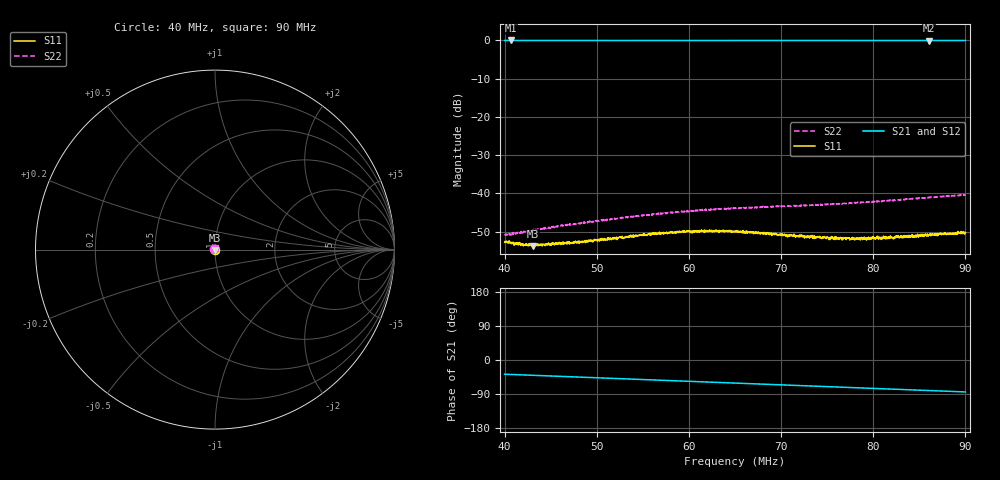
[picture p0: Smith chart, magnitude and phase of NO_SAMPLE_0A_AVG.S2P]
!Agilent Technologies,E5061B,MY49102235,A.02.00
!Date: Mon Jul 03 10:47:28 2023
!Data & Calibration Information:
!Freq	S11:SOLT2(ON)	S21:SOLT2(ON)	S12:SOLT2(ON)	S22:SOLT2(ON)
# Hz S RI R 50
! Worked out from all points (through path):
!   1600 points, 40 MHz to 90 MHz, reference 50 ohm
!   highest |S21| = 0.00 dB at 40.69 MHz (marker M1); lowest = 0.0 dB at 86.09 MHz (marker M2)
!   group delay of S21, straight-line fit = 2.6 ns
!   lowest |S11| = -53.8 dB at 43.03 MHz (marker M3), VSWR 1.00, Z = 49.9 - j0.195 ohm
!   |S11| at or under -10 dB: start of sweep to end of sweep
!   |S22| runs from -50.9 to -40.4 dB; largest |S21 - S12| = 0.0012
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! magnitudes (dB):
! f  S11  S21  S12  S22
! 40 MHz  -52.8  0.0  0.0  -50.7
! 40.69 MHz  -53.0  0.0  0.0  -50.7
! 41.97 MHz  -53.1  0.0  0.0  -50.3
! 43.03 MHz  -53.8  0.0  0.0  -49.5
! 46.25 MHz  -53.2  0.0  0.0  -48.3
! 48.35 MHz  -52.6  0.0  0.0  -47.8
! 56.67 MHz  -50.4  0.0  0.0  -45.1
! 59.92 MHz  -49.8  0.0  0.0  -44.8
! 60.36 MHz  -50.1  0.0  0.0  -44.6
! 64.2 MHz  -49.8  0.0  0.0  -43.9
! 65.02 MHz  -49.9  0.0  0.0  -43.9
! 68.46 MHz  -50.2  0.0  0.0  -43.5
! 70.68 MHz  -51.3  0.0  0.0  -43.3
! 73.36 MHz  -51.0  0.0  0.0  -43.0
! 74.46 MHz  -51.6  0.0  0.0  -43.1
! 77.71 MHz  -51.9  0.0  0.0  -42.6
! 81.68 MHz  -51.5  0.0  0.0  -41.9
! 82.21 MHz  -51.9  0.0  0.0  -41.9
! 82.53 MHz  -51.3  0.0  0.0  -41.7
! 83.06 MHz  -51.1  0.0  0.0  -41.7
! 86.09 MHz  -50.7  0.0  0.0  -41.0
! 90 MHz  -50.2  0.0  0.0  -40.4
